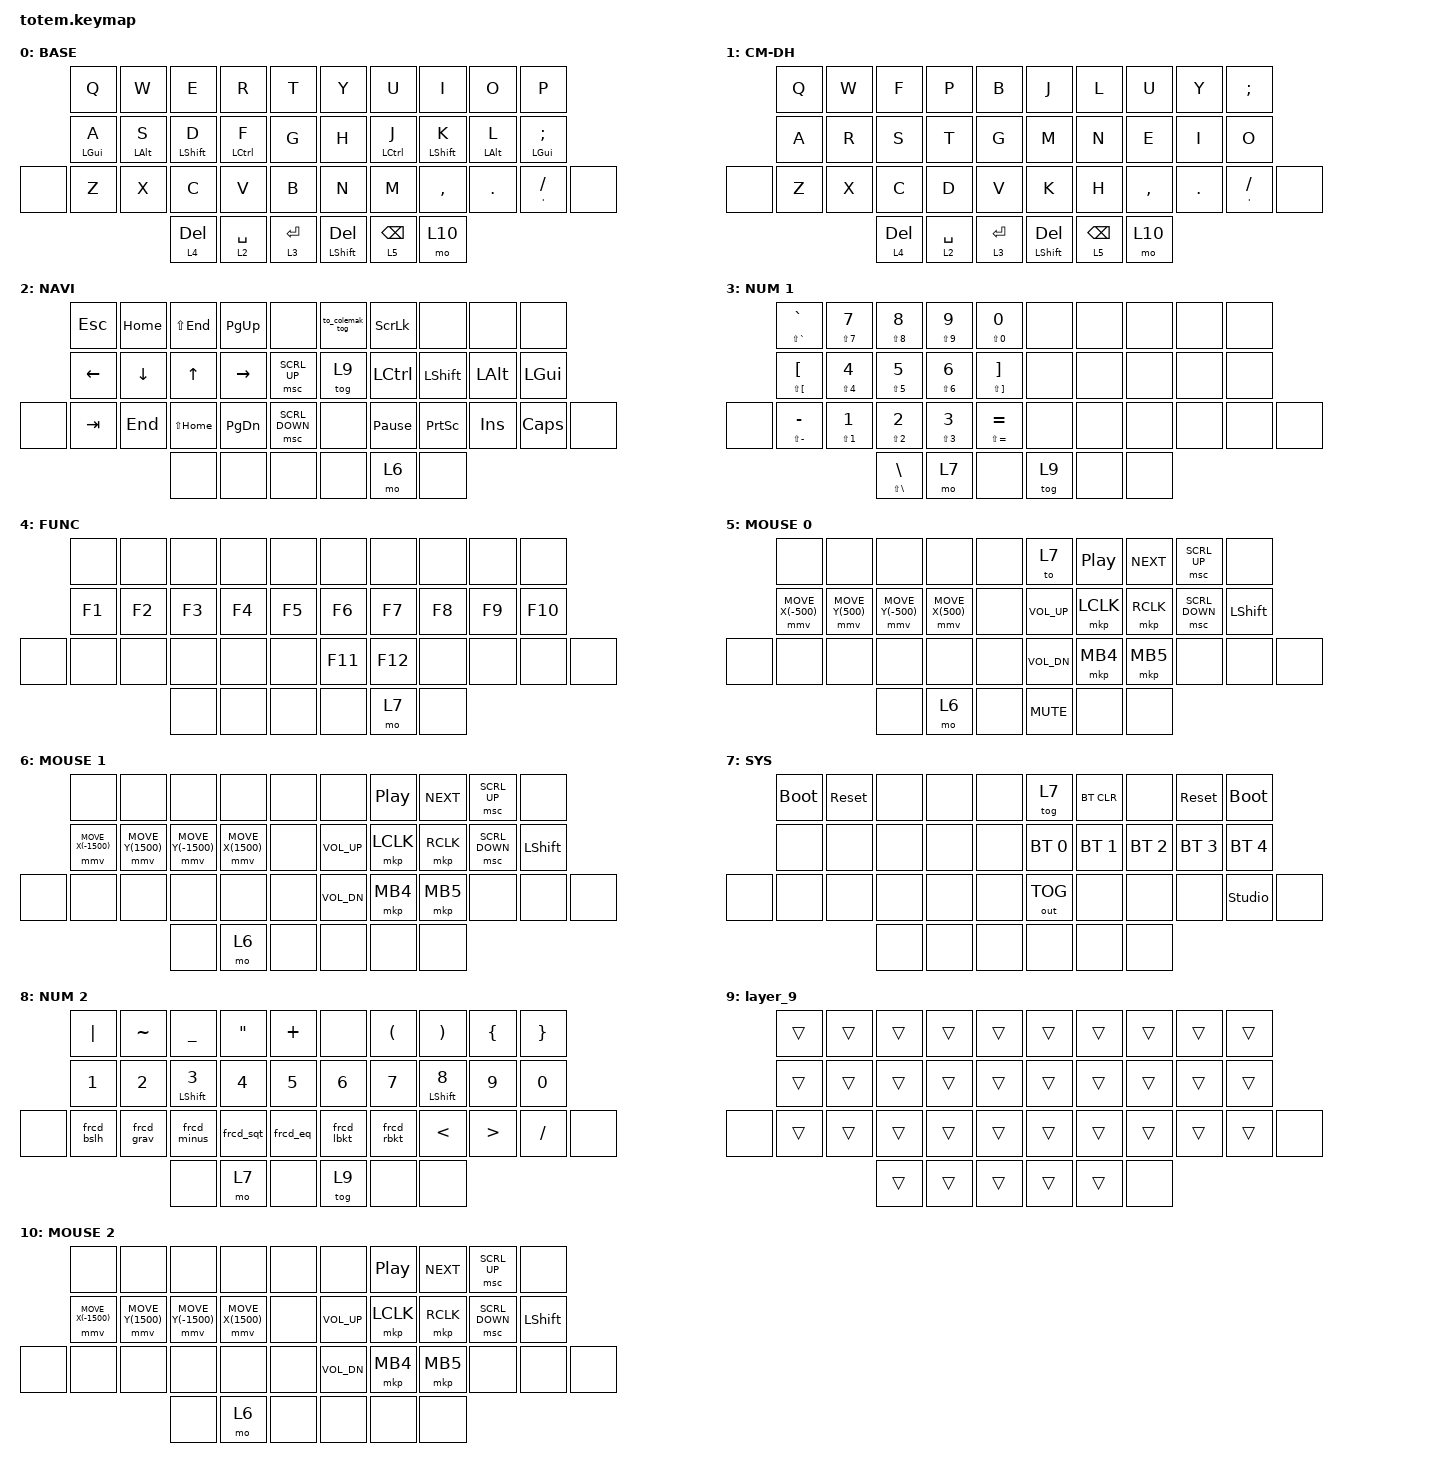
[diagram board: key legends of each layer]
//
//                                                        ▀▀▀▀▀     ▀▀▀▀▀          ▀▀█▀▀
//                                                        ▄▀▀▀▄  ▄  ▄▀▀▀▄  ▄  ▄▀▀▀▄  █  ▄▀▀▀▄
//                                                        █   █  █  █   █  █  █   █  █  █   █
//                                                         ▀▀▀   █   ▀▀▀   █   ▀▀▀   ▀   ▀▀▀
//                                                               █      ▄▄▄█▄▄▄    █   █  
//                                                               ▀      █  █  █     █▄█
//                                                             ▀▀▀▀▀    █  █  █      ▀
//                                                                      ▀  ▀  ▀
//
// ▄▄▄▄▄▄▄▄▄▄▄▄▄▄▄▄▄▄▄▄▄▄▄▄▄▄▄▄▄▄▄▄▄▄▄▄▄▄▄▄▄▄▄▄▄▄▄▄▄▄▄▄▄▄▄▄▄▄▄▄▄▄▄▄▄▄▄▄▄▄▄▄▄▄▄▄▄▄▄▄▄▄▄▄▄▄▄▄▄▄▄▄▄▄▄▄▄▄▄▄▄▄▄▄▄▄▄▄▄▄▄▄▄▄▄▄▄▄▄▄▄▄▄▄▄▄▄▄▄▄▄▄▄▄▄▄▄▄▄▄▄▄▄▄▄▄▄▄▄

#define ZMK_POINTING_DEFAULT_MOVE_VAL 1500

#include <behaviors.dtsi>
#include <dt-bindings/zmk/bt.h>
#include <dt-bindings/zmk/keys.h>
#include <dt-bindings/zmk/outputs.h>
#include <dt-bindings/zmk/pointing.h>

&lt {
    tapping-term-ms = <200>;
    flavor = "balanced";
    quick-tap-ms = <200>;
};

&mt { quick-tap-ms = <200>; };

&mmv {
    acceleration-exponent = <0>;
    delay-ms = <0>;
};

/ {
    combos {
        compatible = "zmk,combos";

        Language_Change_combo0 {
            bindings = <&kp RALT>;
            key-positions = <11 13>;
            layers = <0 1>;
        };

        Language_Change_combo1 {
            bindings = <&kp RALT>;
            key-positions = <16 18>;
            layers = <0 1>;
        };

        MiddleClick_combo {
            bindings = <&mkp MB3>;
            key-positions = <17 16>;
            layers = <5 6 10>;
        };
    };

    macros {
        to_colemak_tog: to_colemak_tog {
            compatible = "zmk,behavior-macro";
            #binding-cells = <0>;
            bindings = <&kp RALT &tog 1>;
        };
    };

    behaviors {
        ht_sft: hold_tap_shift {
            compatible = "zmk,behavior-hold-tap";
            label = "HOLD_TAP_SHIFT";
            bindings = <&kp>, <&kp>;

            #binding-cells = <2>;
            tapping-term-ms = <200>;
            quick-tap-ms = <200>;
            require-prior-idle-ms = <130>;
            flavor = "tap-preferred";
        };

        hrm_l: home_row_mod_left {
            compatible = "zmk,behavior-hold-tap";
            #binding-cells = <2>;
            flavor = "balanced";
            tapping-term-ms = <280>;
            quick-tap-ms = <175>;
            require-prior-idle-ms = <170>;
            bindings = <&kp>, <&kp>;

            hold-trigger-key-positions = <5 6 7 8 9 15 16 17 18 19 25 26 27 28 29 33 34>;
            hold-trigger-on-release;
            label = "home_row_mod_left";
        };

        hrm_r: home_row_mod_right {
            compatible = "zmk,behavior-hold-tap";
            #binding-cells = <2>;
            flavor = "balanced";
            tapping-term-ms = <280>;
            quick-tap-ms = <175>;
            require-prior-idle-ms = <170>;
            bindings = <&kp>, <&kp>;

            hold-trigger-key-positions = <0 1 2 3 4 10 11 12 13 14 20 21 22 23 24 30 31 32>;
            hold-trigger-on-release;
            label = "home_row_mod_right";
        };

        frcd_eq: forced_equal {
            compatible = "zmk,behavior-mod-morph";
            #binding-cells = <0>;
            bindings = <&kp EQUAL>, <&kp EQUAL>;

            mods = <(MOD_LSFT|MOD_RSFT)>;
            label = "FORCED_EQUAL";
        };

        frcd_bslh: forced_backslash {
            compatible = "zmk,behavior-mod-morph";
            #binding-cells = <0>;
            bindings = <&kp BSLH>, <&kp BSLH>;

            mods = <(MOD_LSFT|MOD_RSFT)>;
            label = "FORCED_BSLH";
        };

        frcd_grav: forced_grave {
            compatible = "zmk,behavior-mod-morph";
            #binding-cells = <0>;
            bindings = <&kp GRAVE>, <&kp GRAVE>;

            mods = <(MOD_LSFT|MOD_RSFT)>;
            label = "FORCED_GRAVE";
        };

        frcd_minus: forced_minus {
            compatible = "zmk,behavior-mod-morph";
            #binding-cells = <0>;
            bindings = <&kp MINUS>, <&kp MINUS>;

            mods = <(MOD_LSFT|MOD_RSFT)>;
            label = "FORCED_MINUS";
        };

        frcd_sqt: forced_single_quote {
            compatible = "zmk,behavior-mod-morph";
            #binding-cells = <0>;
            bindings = <&kp SQT>, <&kp SQT>;

            mods = <(MOD_LSFT|MOD_RSFT)>;
            label = "FORCED_SQT";
        };

        frcd_lbkt: forced_left_bracket {
            compatible = "zmk,behavior-mod-morph";
            #binding-cells = <0>;
            bindings = <&kp LBKT>, <&kp LBKT>;

            mods = <(MOD_LSFT|MOD_RSFT)>;
            label = "FORCED_LBKT";
        };

        frcd_rbkt: forced_right_bracket {
            compatible = "zmk,behavior-mod-morph";
            #binding-cells = <0>;
            bindings = <&kp RBKT>, <&kp RBKT>;

            mods = <(MOD_LSFT|MOD_RSFT)>;
            label = "FORCED_RBKT";
        };

        hrm_r_sft: home_row_mod_shift {
            compatible = "zmk,behavior-hold-tap";
            #binding-cells = <2>;
            flavor = "balanced";
            tapping-term-ms = <280>;
            quick-tap-ms = <175>;
            bindings = <&kp>, <&kp>;

            hold-trigger-key-positions = <0 1 2 3 4 10 11 12 13 14 20 21 22 23 24 32 31 5 6 7 8 9 15 16 17 18 19 25 26 27 28 29>;
            label = "HOME_ROW_MOD_SHIFT";
        };
    };

    keymap {
        compatible = "zmk,keymap";

        base {
            display-name = "BASE";
            bindings = <
       &kp Q          &kp W          &kp E           &kp R           &kp T          &kp Y          &kp U           &kp I           &kp O          &kp P
       &hrm_l LGUI A  &hrm_l LALT S  &hrm_l LSHFT D  &hrm_l LCTRL F  &kp G          &kp H          &hrm_r LCTRL J  &hrm_r LSHFT K  &hrm_r LALT L  &hrm_r LGUI SEMICOLON
&none  &kp Z          &kp X          &kp C           &kp V           &kp B          &kp N          &kp M           &kp COMMA       &kp DOT        &mt SINGLE_QUOTE FSLH  &none
                                     &lt 4 DEL       &lt 2 SPACE     &lt 3 ENTER    &mt LSHFT DEL  &lt 5 BSPC      &mo 10
            >;
        };

        colemak {
            bindings = <
       &kp Q  &kp W  &kp F      &kp P        &kp B          &kp J          &kp L       &kp U      &kp Y    &kp SEMI
       &kp A  &kp R  &kp S      &kp T        &kp G          &kp M          &kp N       &kp E      &kp I    &kp O
&none  &kp Z  &kp X  &kp C      &kp D        &kp V          &kp K          &kp H       &kp COMMA  &kp DOT  &mt SQT FSLH  &none
                     &lt 4 DEL  &lt 2 SPACE  &lt 3 ENTER    &mt LSHFT DEL  &lt 5 BSPC  &mo 10
            >;

            label = "CM-DH";
        };

        navi {
            display-name = "NAVI";
            bindings = <
       &kp ESC         &kp HOME        &kp LS(END)   &kp PAGE_UP      &none             &to_colemak_tog  &kp SLCK         &none      &none     &none
       &kp LEFT_ARROW  &kp DOWN_ARROW  &kp UP_ARROW  &kp RIGHT_ARROW  &msc SCRL_UP      &tog 9           &kp LCTRL        &kp LSHFT  &kp LALT  &kp LGUI
&none  &kp TAB         &kp END         &kp LS(HOME)  &kp PAGE_DOWN    &msc SCRL_DOWN    &none            &kp PAUSE_BREAK  &kp PSCRN  &kp INS   &kp CAPS  &none
                                       &none         &none            &none             &none            &mo 6            &none
            >;
        };

        num {
            display-name = "NUM 1";
            bindings = <
       &ht_sft LS(GRAVE) GRAVE                &ht_sft LS(N7) N7  &ht_sft LS(N8) N8      &ht_sft LS(N9) N9  &ht_sft LS(N0) N0                          &none   &none  &none  &none  &none
       &ht_sft LS(LEFT_BRACKET) LEFT_BRACKET  &ht_sft LS(N4) N4  &ht_sft LS(N5) N5      &ht_sft LS(N6) N6  &ht_sft LS(RIGHT_BRACKET) RIGHT_BRACKET    &none   &none  &none  &none  &none
&none  &ht_sft LS(MINUS) MINUS                &ht_sft LS(N1) N1  &ht_sft LS(N2) N2      &ht_sft LS(N3) N3  &ht_sft LS(EQUAL) EQUAL                    &none   &none  &none  &none  &none  &none
                                                                 &ht_sft LS(BSLH) BSLH  &mo 7              &none                                      &tog 9  &none  &none
            >;
        };

        function {
            display-name = "FUNC";
            bindings = <
       &none   &none   &none   &none   &none     &none    &none    &none   &none   &none
       &kp F1  &kp F2  &kp F3  &kp F4  &kp F5    &kp F6   &kp F7   &kp F8  &kp F9  &kp F10
&none  &none   &none   &none   &none   &none     &kp F11  &kp F12  &none   &none   &none    &none
                       &none   &none   &none     &none    &mo 7    &none
            >;
        };

        mouse0 {
            display-name = "MOUSE 0";
            bindings = <
       &none              &none             &none              &none             &none    &to 7         &kp C_PLAY_PAUSE  &kp C_NEXT  &msc SCRL_UP    &none
       &mmv MOVE_X(-500)  &mmv MOVE_Y(500)  &mmv MOVE_Y(-500)  &mmv MOVE_X(500)  &none    &kp C_VOL_UP  &mkp LCLK         &mkp RCLK   &msc SCRL_DOWN  &kp LSHFT
&none  &none              &none             &none              &none             &none    &kp C_VOL_DN  &mkp MB4          &mkp MB5    &none           &none      &none
                                            &none              &mo 6             &none    &kp C_MUTE    &none             &none
            >;
        };

        mouse1 {
            display-name = "MOUSE 1";
            bindings = <
       &none               &none              &none               &none              &none    &none         &kp C_PLAY_PAUSE  &kp C_NEXT  &msc SCRL_UP    &none
       &mmv MOVE_X(-1500)  &mmv MOVE_Y(1500)  &mmv MOVE_Y(-1500)  &mmv MOVE_X(1500)  &none    &kp C_VOL_UP  &mkp LCLK         &mkp RCLK   &msc SCRL_DOWN  &kp LSHFT
&none  &none               &none              &none               &none              &none    &kp C_VOL_DN  &mkp MB4          &mkp MB5    &none           &none      &none
                                              &none               &mo 6              &none    &none         &none             &none
            >;
        };

        sys {
            display-name = "SYS";
            bindings = <
       &bootloader  &sys_reset  &none  &none  &none    &tog 7        &bt BT_CLR    &none         &sys_reset    &bootloader
       &none        &none       &none  &none  &none    &bt BT_SEL 0  &bt BT_SEL 1  &bt BT_SEL 2  &bt BT_SEL 3  &bt BT_SEL 4
&none  &none        &none       &none  &none  &none    &out OUT_TOG  &none         &none         &none         &studio_unlock  &none
                                &none  &none  &none    &none         &none         &none
            >;
        };

        num+sym {
            display-name = "NUM 2";
            bindings = <
       &kp PIPE    &kp TILDE   &kp UNDER        &kp DQT    &kp PLUS    &none       &kp LPAR    &kp RPAR         &kp LBRC  &kp RBRC
       &kp N1      &kp N2      &hrm_l LSHFT N3  &kp N4     &kp N5      &kp N6      &kp N7      &hrm_r LSHFT N8  &kp N9    &kp N0
&none  &frcd_bslh  &frcd_grav  &frcd_minus      &frcd_sqt  &frcd_eq    &frcd_lbkt  &frcd_rbkt  &kp LT           &kp GT    &kp FSLH  &none
                               &none            &mo 7      &none       &tog 9      &none       &none
            >;
        };

        layer_9 {
            bindings = <
       &trans  &trans  &trans  &trans  &trans    &trans  &trans  &trans  &trans  &trans
       &trans  &trans  &trans  &trans  &trans    &trans  &trans  &trans  &trans  &trans
&none  &trans  &trans  &trans  &trans  &trans    &trans  &trans  &trans  &trans  &trans  &none
                       &trans  &trans  &trans    &trans  &trans  &none
            >;
        };

        mouse2 {
            display-name = "MOUSE 2";
            bindings = <
       &none               &none              &none               &none              &none    &none         &kp C_PLAY_PAUSE  &kp C_NEXT  &msc SCRL_UP    &none
       &mmv MOVE_X(-1500)  &mmv MOVE_Y(1500)  &mmv MOVE_Y(-1500)  &mmv MOVE_X(1500)  &none    &kp C_VOL_UP  &mkp LCLK         &mkp RCLK   &msc SCRL_DOWN  &kp LSHFT
&none  &none               &none              &none               &none              &none    &kp C_VOL_DN  &mkp MB4          &mkp MB5    &none           &none      &none
                                              &none               &mo 6              &none    &none         &none             &none
            >;
        };
    };

    conditional_layers {
        compatible = "zmk,conditional-layers";

        tog_num+sym {
            if-layers = <3 9>;
            then-layer = <8>;
        };
    };
};
